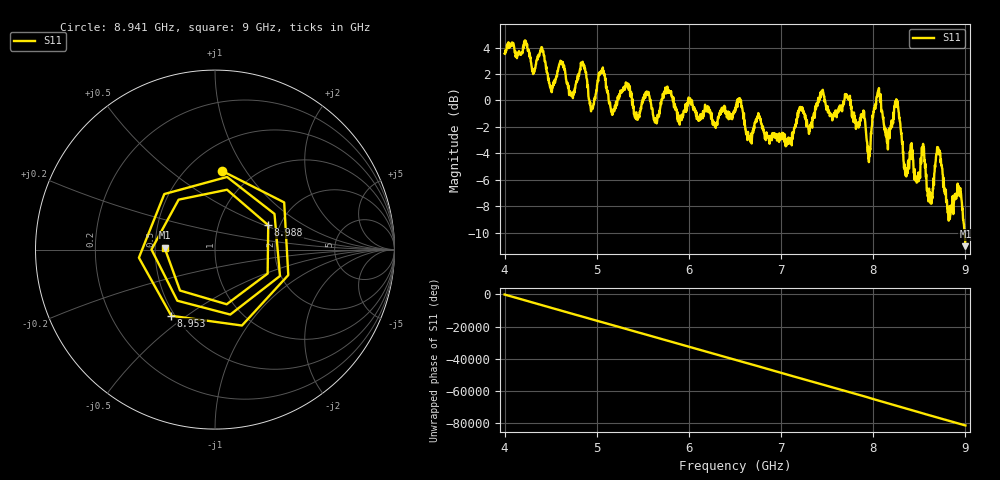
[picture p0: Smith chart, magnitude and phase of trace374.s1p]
! Created with skrf 1.8.0 (http://scikit-rf.org).
# Hz S RI R 50.0
!freq ReS11 ImS11
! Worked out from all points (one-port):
!   1601 points, 4 GHz to 9 GHz, reference 50 ohm
!   lowest |S11| = -11.0 dB at 9 GHz (marker M1), VSWR 1.78, Z = 28.1 + j0.645 ohm
!   |S11| at or under -10 dB: 8.992652 GHz to end of sweep
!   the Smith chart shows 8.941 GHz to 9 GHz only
!   S11 on the Smith chart (normalised r, x): 8.941 GHz: 0.73, +0.79; 8.953 GHz: 0.48, -0.44; 8.988 GHz: 1.74, +0.53; 9 GHz: 0.56, +0.01
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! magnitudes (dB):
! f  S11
! 4 GHz  3.5
! 4.406 GHz  4.0
! 4.509 GHz  0.8
! 4.625 GHz  2.9
! 4.725 GHz  0.5
! 4.853 GHz  2.7
! 4.944 GHz  -0.5
! 5.05 GHz  2.2
! 5.162 GHz  -0.8
! 5.25 GHz  0.3
! 5.875 GHz  -1.4
! 6.5 GHz  -0.7
! 7.125 GHz  -2.9
! 7.444 GHz  0.5
! 7.75 GHz  -0.4
! 7.947 GHz  -4.4
! 8.047 GHz  0.6
! 8.153 GHz  -2.7
! 8.253 GHz  -0.2
! 8.375 GHz  -5.3
! 8.541 GHz  -3.3
! 8.619 GHz  -7.0
! 8.706 GHz  -3.8
! 8.822 GHz  -8.6
! 8.941 GHz  -7.1
! 8.953 GHz  -7.1
! 8.988 GHz  -9.7
! 9 GHz  -11.0
